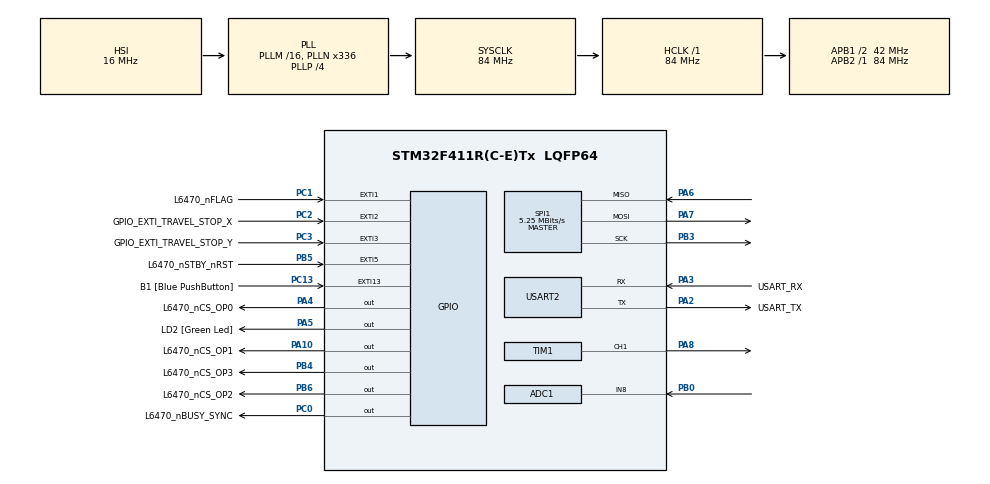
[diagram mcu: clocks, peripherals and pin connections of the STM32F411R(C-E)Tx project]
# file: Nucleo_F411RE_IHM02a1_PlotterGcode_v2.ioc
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Mcu.Family=STM32F4
PA6.Mode=Full_Duplex_Master
RCC.CortexFreq_Value=84000000
SPI1.VirtualType=VM_MASTER
PA14.GPIO_Label=TCK
NVIC.EXTI3_IRQn=true\:0\:0\:false\:false\:true\:true\:true
PC0.GPIO_Label=L6470_nBUSY_SYNC
PC0.GPIO_ModeDefaultOutputPP=GPIO_MODE_OUTPUT_OD
PB6.GPIO_Label=L6470_nCS_OP2
PB3.GPIO_Speed=GPIO_SPEED_FREQ_HIGH
RCC.SYSCLKSource=RCC_SYSCLKSOURCE_PLLCLK
ProjectManager.StackSize=0x400
TIM1.Prescaler=839
SPI1.CLKPolarity=SPI_POLARITY_HIGH
PH0\ -\ OSC_IN.Signal=RCC_OSC_IN
SPI1.Direction=SPI_DIRECTION_2LINES
RCC.HCLKFreq_Value=84000000
RCC.APB2TimFreq_Value=84000000
PB6.Signal=GPIO_Output
ADC1.InjNumberOfConversion=0
SPI1.CalculateBaudRate=5.25 MBits/s
PC3.Signal=GPXTI3
RCC.AHBFreq_Value=84000000
NVIC.EXTI15_10_IRQn=true\:0\:0\:false\:false\:true\:true\:true
ADC1.Channel-0\#ChannelRegularConversion=ADC_CHANNEL_8
RCC.HSE_VALUE=8000000
PB3.Mode=Full_Duplex_Master
PC1.GPIO_PuPd=GPIO_NOPULL
PC13-ANTI_TAMP.Signal=GPXTI13
PC14-OSC32_IN.Mode=LSE-External-Oscillator
TIM1.Channel-PWM\ Generation1\ CH1=TIM_CHANNEL_1
PA14.Mode=Serial_Wire
NVIC.TIM2_IRQn=true\:0\:0\:false\:false\:true\:true\:true
PA10.GPIO_Label=L6470_nCS_OP1
SH.ADCx_IN8.0=ADC1_IN8,IN8
PA8.Signal=S_TIM1_CH1
VP_TIM1_VS_ClockSourceINT.Mode=Internal
ADC1.SamplingTime-0\#ChannelRegularConversion=ADC_SAMPLETIME_3CYCLES
RCC.FLatency-AdvancedSettings=FLASH_LATENCY_2
Mcu.Package=LQFP64
TIM2.Prescaler=8399
PA6.Signal=SPI1_MISO
USART2.VirtualMode=VM_ASYNC
PA2.GPIO_Label=USART_TX
PA10.Signal=GPIO_Output
PA10.GPIO_Speed=GPIO_SPEED_FREQ_HIGH
TIM2.TIM_MasterOutputTrigger=TIM_TRGO_UPDATE
PB5.GPIO_Label=L6470_nSTBY_nRST
NVIC.EXTI2_IRQn=true\:0\:0\:false\:false\:true\:true\:true
RCC.APB1TimFreq_Value=84000000
TIM1.Period=1999
PA6.GPIO_Speed=GPIO_SPEED_FREQ_HIGH
SPI1.BaudRatePrescaler=SPI_BAUDRATEPRESCALER_16
PA4.GPIO_Label=L6470_nCS_OP0
PC2.GPIO_Label=GPIO_EXTI_TRAVEL_STOP_X
PB4.Signal=GPIO_Output
PC2.GPIO_ModeDefaultEXTI=GPIO_MODE_IT_FALLING
PA3.Signal=USART2_RX
PB5.GPIO_ModeDefaultEXTI=GPIO_MODE_IT_FALLING
PC15-OSC32_OUT.Mode=LSE-External-Oscillator
ADC1.Rank-0\#ChannelRegularConversion=1
PA7.Mode=Full_Duplex_Master
PC13-ANTI_TAMP.GPIO_Label=B1 [Blue PushButton]
PC3.GPIO_ModeDefaultEXTI=GPIO_MODE_IT_FALLING
PH1\ -\ OSC_OUT.Mode=HSE-External-Clock-Source
PC2.Signal=GPXTI2
SPI1.CLKPhase=SPI_PHASE_2EDGE
PC0.Signal=GPIO_Output
RCC.APB1CLKDivider=RCC_HCLK_DIV2
PC14-OSC32_IN.Signal=RCC_OSC32_IN
PA3.Mode=Asynchronous
PA13.Signal=SYS_JTMS-SWDIO
TIM1.AutoReloadPreload=TIM_AUTORELOAD_PRELOAD_ENABLE
PH0\ -\ OSC_IN.Mode=HSE-External-Clock-Source
PC0.GPIO_Speed=GPIO_SPEED_FREQ_HIGH
SH.S_TIM1_CH1.0=TIM1_CH1,PWM Generation1 CH1
ProjectManager.TargetToolchain=STM32CubeIDE
PC15-OSC32_OUT.Signal=RCC_OSC32_OUT
PA5.Signal=GPIO_Output
PH1\ -\ OSC_OUT.Signal=RCC_OSC_OUT
board=NUCLEO-F411RE
RCC.VCOOutputFreq_Value=336000000
PA7.GPIO_Speed=GPIO_SPEED_FREQ_HIGH
RCC.APB2Freq_Value=84000000
PB4.GPIO_Label=L6470_nCS_OP3
VP_TIM2_VS_ClockSourceINT.Mode=Internal
SPI1.Mode=SPI_MODE_MASTER
PC1.GPIO_Label=L6470_nFLAG
PC2.GPIO_PuPd=GPIO_PULLUP
PA13.Mode=Serial_Wire
Mcu.Name=STM32F411R(C-E)Tx
PA2.Signal=USART2_TX
PA13.GPIO_Label=TMS
RCC.LockedElements=TimPrescOut,PeriphPrescOutput
RCC.48MHZClocksFreq_Value=84000000
PB3.Signal=SPI1_SCK
PA4.Signal=GPIO_Output
RCC.SYSCLKFreq_VALUE=84000000
PB5.Signal=GPXTI5
ADC1.master=1
PA5.GPIO_Label=LD2 [Green Led]
PC13-ANTI_TAMP.GPIO_ModeDefaultEXTI=GPIO_MODE_IT_FALLING
PA14.Signal=SYS_JTCK-SWCLK
ProjectManager.HeapSize=0x200
RCC.HSI_VALUE=16000000
RCC.PLLP=RCC_PLLP_DIV4
NVIC.PriorityGroup=NVIC_PRIORITYGROUP_0
ADC1.NbrOfConversionFlag=1
RCC.PLLN=336
PC1.GPIO_ModeDefaultEXTI=GPIO_MODE_IT_FALLING
PA2.Mode=Asynchronous
PC3.GPIO_Label=GPIO_EXTI_TRAVEL_STOP_Y
RCC.APB1Freq_Value=42000000
PB0.Signal=ADCx_IN8
PC1.Signal=GPXTI1
PC3.GPIO_PuPd=GPIO_PULLUP
PA3.GPIO_Label=USART_RX
PA7.Signal=SPI1_MOSI

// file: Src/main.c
/* USER CODE BEGIN Header */
/**
 ******************************************************************************
 * @file           : main.c
 * @brief          : Main program body
 ******************************************************************************
 * @attention
 *
 * <h2><center>&copy; Copyright (c) 2020 STMicroelectronics.
 * All rights reserved.</center></h2>
 *
 * This software component is licensed by ST under BSD 3-Clause license,
 * the "License"; You may not use this file except in compliance with the
 * License. You may obtain a copy of the License at:
 *                        opensource.org/licenses/BSD-3-Clause
 *
 ******************************************************************************
 */
/* USER CODE END Header */

#include "main.h"

/* USER CODE BEGIN Includes */

#include "xnucleoihm02a1.h"

/* USER CODE END Includes */

/* USER CODE BEGIN PTD */

void BSP_ServoMotorInit(void);
void BSP_ServoMotorOn(void);
void BSP_ServoMotorOff(void);
void BSP_ServoMotorSetAngle(uint8_t angle);

/* USER CODE END PTD */

ADC_HandleTypeDef hadc1;

SPI_HandleTypeDef hspi1;

TIM_HandleTypeDef htim1;
TIM_HandleTypeDef htim2;

UART_HandleTypeDef huart2;

/* USER CODE BEGIN PV */
uint8_t TIM2_AWAITING_UPDATE_EVENT;
/* USER CODE END PV */

void SystemClock_Config(void);
static void MX_GPIO_Init(void);
static void MX_ADC1_Init(void);
static void MX_SPI1_Init(void);
static void MX_USART2_UART_Init(void);
static void MX_TIM2_Init(void);
static void MX_TIM1_Init(void);

/* USER CODE BEGIN 0 */

#ifdef __GNUC__
/* With GCC, small printf (option LD Linker->Libraries->Small printf
     set to 'Yes') calls __io_putchar() */
#define PUTCHAR_PROTOTYPE int __io_putchar(int ch)
#else
#define PUTCHAR_PROTOTYPE int fputc(int ch, FILE *f)
#endif /* __GNUC__ */

/* Private functions ---------------------------------------------------------*/
/**
 * @brief  Retargets the C library printf function to the USART.
 * @param  None
 * @retval None
 */
PUTCHAR_PROTOTYPE
{
	/* Place your implementation of fputc here */
	/* e.g. write a character to the EVAL_COM1 and Loop until the end of transmission */
	HAL_UART_Transmit(&huart2, (uint8_t *)&ch, 1, 0xFFFF);

	return ch;
}

/* USER CODE END 0 */

int main(void)
{

  /* MCU Configuration--------------------------------------------------------*/

  /* Reset of all peripherals, Initializes the Flash interface and the Systick. */
  HAL_Init();

  /* Configure the system clock */
  SystemClock_Config();

  /* Initialize all configured peripherals */
  MX_GPIO_Init();
  MX_ADC1_Init();
  MX_SPI1_Init();
  MX_USART2_UART_Init();
  MX_TIM2_Init();
  MX_TIM1_Init();
  /* USER CODE BEGIN 2 */

#ifdef NUCLEO_USE_USER_BUTTON0
	/* Configures Button GPIO and EXTI Line */
	BSP_PB_Init(BUTTON_KEY, BUTTON_MODE_EXTI);
#endif

#ifdef NUCLEO_USE_USER_LED
	/* Configures LED GPIO */
	BSP_LED_Init(LED2);
#endif

	printf("Start\n");

	BSP_ServoMotorInit();

//	BSP_ServoMotorOn();
//	BSP_ServoMotorSetAngle(20);
//	HAL_Delay(2000);
//	BSP_ServoMotorOff();
//
//	BSP_ServoMotorOn();
//	BSP_ServoMotorSetAngle(0);
//	HAL_Delay(2000);
//	BSP_ServoMotorOff();

	/* Perform a batch commands for X-NUCLEO-IHM02A1 */
	plotterProcess();

  /* USER CODE END 2 */

  /* Infinite loop */
	while (1)
	{

	}
}

void SystemClock_Config(void)
{
  RCC_OscInitTypeDef RCC_OscInitStruct = {0};
  RCC_ClkInitTypeDef RCC_ClkInitStruct = {0};

  /** Configure the main internal regulator output voltage
  */
  __HAL_RCC_PWR_CLK_ENABLE();
  __HAL_PWR_VOLTAGESCALING_CONFIG(PWR_REGULATOR_VOLTAGE_SCALE1);
  /** Initializes the CPU, AHB and APB busses clocks
  */
  RCC_OscInitStruct.OscillatorType = RCC_OSCILLATORTYPE_HSI;
  RCC_OscInitStruct.HSIState = RCC_HSI_ON;
  RCC_OscInitStruct.HSICalibrationValue = RCC_HSICALIBRATION_DEFAULT;
  RCC_OscInitStruct.PLL.PLLState = RCC_PLL_ON;
  RCC_OscInitStruct.PLL.PLLSource = RCC_PLLSOURCE_HSI;
  RCC_OscInitStruct.PLL.PLLM = 16;
  RCC_OscInitStruct.PLL.PLLN = 336;
  RCC_OscInitStruct.PLL.PLLP = RCC_PLLP_DIV4;
  RCC_OscInitStruct.PLL.PLLQ = 4;
  if (HAL_RCC_OscConfig(&RCC_OscInitStruct) != HAL_OK)
  {
    Error_Handler();
  }
  /** Initializes the CPU, AHB and APB busses clocks
  */
  RCC_ClkInitStruct.ClockType = RCC_CLOCKTYPE_HCLK|RCC_CLOCKTYPE_SYSCLK
                              |RCC_CLOCKTYPE_PCLK1|RCC_CLOCKTYPE_PCLK2;
  RCC_ClkInitStruct.SYSCLKSource = RCC_SYSCLKSOURCE_PLLCLK;
  RCC_ClkInitStruct.AHBCLKDivider = RCC_SYSCLK_DIV1;
  RCC_ClkInitStruct.APB1CLKDivider = RCC_HCLK_DIV2;
  RCC_ClkInitStruct.APB2CLKDivider = RCC_HCLK_DIV1;

  if (HAL_RCC_ClockConfig(&RCC_ClkInitStruct, FLASH_LATENCY_2) != HAL_OK)
  {
    Error_Handler();
  }
}

static void MX_ADC1_Init(void)
{

  ADC_ChannelConfTypeDef sConfig = {0};

  /** Configure the global features of the ADC (Clock, Resolution, Data Alignment and number of conversion)
  */
  hadc1.Instance = ADC1;
  hadc1.Init.ClockPrescaler = ADC_CLOCK_SYNC_PCLK_DIV4;
  hadc1.Init.Resolution = ADC_RESOLUTION_12B;
  hadc1.Init.ScanConvMode = DISABLE;
  hadc1.Init.ContinuousConvMode = DISABLE;
  hadc1.Init.DiscontinuousConvMode = DISABLE;
  hadc1.Init.ExternalTrigConvEdge = ADC_EXTERNALTRIGCONVEDGE_NONE;
  hadc1.Init.ExternalTrigConv = ADC_SOFTWARE_START;
  hadc1.Init.DataAlign = ADC_DATAALIGN_RIGHT;
  hadc1.Init.NbrOfConversion = 1;
  hadc1.Init.DMAContinuousRequests = DISABLE;
  hadc1.Init.EOCSelection = ADC_EOC_SINGLE_CONV;
  if (HAL_ADC_Init(&hadc1) != HAL_OK)
  {
    Error_Handler();
  }
  /** Configure for the selected ADC regular channel its corresponding rank in the sequencer and its sample time.
  */
  sConfig.Channel = ADC_CHANNEL_8;
  sConfig.Rank = 1;
  sConfig.SamplingTime = ADC_SAMPLETIME_3CYCLES;
  if (HAL_ADC_ConfigChannel(&hadc1, &sConfig) != HAL_OK)
  {
    Error_Handler();
  }

}

static void MX_SPI1_Init(void)
{

  /* USER CODE BEGIN SPI1_Init 0 */
#define MAX_BAUDRATE  5000000
	uint32_t freq;
	uint16_t freq_div;
	uint32_t spi_baudrateprescaler;
  /* USER CODE END SPI1_Init 0 */

  /* SPI1 parameter configuration*/
  hspi1.Instance = SPI1;
  hspi1.Init.Mode = SPI_MODE_MASTER;
  hspi1.Init.Direction = SPI_DIRECTION_2LINES;
  hspi1.Init.DataSize = SPI_DATASIZE_8BIT;
  hspi1.Init.CLKPolarity = SPI_POLARITY_HIGH;
  hspi1.Init.CLKPhase = SPI_PHASE_2EDGE;
  hspi1.Init.NSS = SPI_NSS_SOFT;
  hspi1.Init.BaudRatePrescaler = SPI_BAUDRATEPRESCALER_16;
  hspi1.Init.FirstBit = SPI_FIRSTBIT_MSB;
  hspi1.Init.TIMode = SPI_TIMODE_DISABLE;
  hspi1.Init.CRCCalculation = SPI_CRCCALCULATION_DISABLE;
  hspi1.Init.CRCPolynomial = 10;
  if (HAL_SPI_Init(&hspi1) != HAL_OK)
  {
    Error_Handler();
  }
  /* USER CODE BEGIN SPI1_Init 2 */
	freq = HAL_RCC_GetPCLK2Freq();
	freq_div = (freq / MAX_BAUDRATE);

	if (freq_div < 2)
	{
		spi_baudrateprescaler = SPI_BAUDRATEPRESCALER_2;
	}
	else
	{
		if (freq_div < 4)
		{
			spi_baudrateprescaler = SPI_BAUDRATEPRESCALER_4;
		}
		else
		{
			if (freq_div < 8)
			{
				spi_baudrateprescaler = SPI_BAUDRATEPRESCALER_8;
			}
			else
			{
				if (freq_div < 16)
				{
					spi_baudrateprescaler = SPI_BAUDRATEPRESCALER_16;
				}
				else
				{
					if (freq_div < 32)
					{
						spi_baudrateprescaler = SPI_BAUDRATEPRESCALER_32;
					}
					else
					{
						if (freq_div < 64)
						{
							spi_baudrateprescaler = SPI_BAUDRATEPRESCALER_64;
						}
						else
						{
							if (freq_div < 128)
							{
								spi_baudrateprescaler = SPI_BAUDRATEPRESCALER_128;
							}
							else
							{
								if (freq_div < 256)
								{
									spi_baudrateprescaler = SPI_BAUDRATEPRESCALER_256;
								}
								else
								{
									/* the condition is not possible, you should reduce the CPU frequency */
									while(1);
								}
							}
						}
					}
				}
			}
		}
	}

	hspi1.Init.BaudRatePrescaler = spi_baudrateprescaler;  // the baudrate will be lower than MAX_BAUDRATE (5 MBits/s)
	if (HAL_SPI_Init(&hspi1) != HAL_OK)
	{
		Error_Handler();
	}
  /* USER CODE END SPI1_Init 2 */

}

static void MX_TIM1_Init(void)
{

  TIM_ClockConfigTypeDef sClockSourceConfig = {0};
  TIM_MasterConfigTypeDef sMasterConfig = {0};
  TIM_OC_InitTypeDef sConfigOC = {0};
  TIM_BreakDeadTimeConfigTypeDef sBreakDeadTimeConfig = {0};

  htim1.Instance = TIM1;
  htim1.Init.Prescaler = 839;
  htim1.Init.CounterMode = TIM_COUNTERMODE_UP;
  htim1.Init.Period = 1999;
  htim1.Init.ClockDivision = TIM_CLOCKDIVISION_DIV1;
  htim1.Init.RepetitionCounter = 0;
  htim1.Init.AutoReloadPreload = TIM_AUTORELOAD_PRELOAD_ENABLE;
  if (HAL_TIM_Base_Init(&htim1) != HAL_OK)
  {
    Error_Handler();
  }
  sClockSourceConfig.ClockSource = TIM_CLOCKSOURCE_INTERNAL;
  if (HAL_TIM_ConfigClockSource(&htim1, &sClockSourceConfig) != HAL_OK)
  {
    Error_Handler();
  }
  if (HAL_TIM_PWM_Init(&htim1) != HAL_OK)
  {
    Error_Handler();
  }
  sMasterConfig.MasterOutputTrigger = TIM_TRGO_RESET;
  sMasterConfig.MasterSlaveMode = TIM_MASTERSLAVEMODE_DISABLE;
  if (HAL_TIMEx_MasterConfigSynchronization(&htim1, &sMasterConfig) != HAL_OK)
  {
    Error_Handler();
  }
  sConfigOC.OCMode = TIM_OCMODE_PWM1;
  sConfigOC.Pulse = 0;
  sConfigOC.OCPolarity = TIM_OCPOLARITY_HIGH;
  sConfigOC.OCNPolarity = TIM_OCNPOLARITY_HIGH;
  sConfigOC.OCFastMode = TIM_OCFAST_DISABLE;
  sConfigOC.OCIdleState = TIM_OCIDLESTATE_RESET;
  sConfigOC.OCNIdleState = TIM_OCNIDLESTATE_RESET;
  if (HAL_TIM_PWM_ConfigChannel(&htim1, &sConfigOC, TIM_CHANNEL_1) != HAL_OK)
  {
    Error_Handler();
  }
  sBreakDeadTimeConfig.OffStateRunMode = TIM_OSSR_DISABLE;
  sBreakDeadTimeConfig.OffStateIDLEMode = TIM_OSSI_DISABLE;
  sBreakDeadTimeConfig.LockLevel = TIM_LOCKLEVEL_OFF;
  sBreakDeadTimeConfig.DeadTime = 0;
  sBreakDeadTimeConfig.BreakState = TIM_BREAK_DISABLE;
  sBreakDeadTimeConfig.BreakPolarity = TIM_BREAKPOLARITY_HIGH;
  sBreakDeadTimeConfig.AutomaticOutput = TIM_AUTOMATICOUTPUT_DISABLE;
  if (HAL_TIMEx_ConfigBreakDeadTime(&htim1, &sBreakDeadTimeConfig) != HAL_OK)
  {
    Error_Handler();
  }
  HAL_TIM_MspPostInit(&htim1);

}

static void MX_TIM2_Init(void)
{

  TIM_ClockConfigTypeDef sClockSourceConfig = {0};
  TIM_MasterConfigTypeDef sMasterConfig = {0};

  htim2.Instance = TIM2;
  htim2.Init.Prescaler = 8399;
  htim2.Init.CounterMode = TIM_COUNTERMODE_UP;
  htim2.Init.Period = 0;
  htim2.Init.ClockDivision = TIM_CLOCKDIVISION_DIV1;
  htim2.Init.AutoReloadPreload = TIM_AUTORELOAD_PRELOAD_DISABLE;
  if (HAL_TIM_Base_Init(&htim2) != HAL_OK)
  {
    Error_Handler();
  }
  sClockSourceConfig.ClockSource = TIM_CLOCKSOURCE_INTERNAL;
  if (HAL_TIM_ConfigClockSource(&htim2, &sClockSourceConfig) != HAL_OK)
  {
    Error_Handler();
  }
  sMasterConfig.MasterOutputTrigger = TIM_TRGO_UPDATE;
  sMasterConfig.MasterSlaveMode = TIM_MASTERSLAVEMODE_DISABLE;
  if (HAL_TIMEx_MasterConfigSynchronization(&htim2, &sMasterConfig) != HAL_OK)
  {
    Error_Handler();
  }

}

static void MX_USART2_UART_Init(void)
{

  huart2.Instance = USART2;
  huart2.Init.BaudRate = 115200;
  huart2.Init.WordLength = UART_WORDLENGTH_8B;
  huart2.Init.StopBits = UART_STOPBITS_1;
  huart2.Init.Parity = UART_PARITY_NONE;
  huart2.Init.Mode = UART_MODE_TX_RX;
  huart2.Init.HwFlowCtl = UART_HWCONTROL_NONE;
  huart2.Init.OverSampling = UART_OVERSAMPLING_16;
  if (HAL_UART_Init(&huart2) != HAL_OK)
  {
    Error_Handler();
  }

}

static void MX_GPIO_Init(void)
{
  GPIO_InitTypeDef GPIO_InitStruct = {0};

  /* GPIO Ports Clock Enable */
  __HAL_RCC_GPIOC_CLK_ENABLE();
  __HAL_RCC_GPIOH_CLK_ENABLE();
  __HAL_RCC_GPIOA_CLK_ENABLE();
  __HAL_RCC_GPIOB_CLK_ENABLE();

  /*Configure GPIO pin Output Level */
  HAL_GPIO_WritePin(L6470_nBUSY_SYNC_GPIO_Port, L6470_nBUSY_SYNC_Pin, GPIO_PIN_RESET);

  /*Configure GPIO pin Output Level */
  HAL_GPIO_WritePin(GPIOA, L6470_nCS_OP0_Pin|LD2_Pin|L6470_nCS_OP1_Pin, GPIO_PIN_RESET);

  /*Configure GPIO pin Output Level */
  HAL_GPIO_WritePin(GPIOB, L6470_nCS_OP3_Pin|L6470_nCS_OP2_Pin, GPIO_PIN_RESET);

  /*Configure GPIO pins : B1_Pin L6470_nFLAG_Pin */
  GPIO_InitStruct.Pin = B1_Pin|L6470_nFLAG_Pin;
  GPIO_InitStruct.Mode = GPIO_MODE_IT_FALLING;
  GPIO_InitStruct.Pull = GPIO_NOPULL;
  HAL_GPIO_Init(GPIOC, &GPIO_InitStruct);

  /*Configure GPIO pin : L6470_nBUSY_SYNC_Pin */
  GPIO_InitStruct.Pin = L6470_nBUSY_SYNC_Pin;
  GPIO_InitStruct.Mode = GPIO_MODE_OUTPUT_OD;
  GPIO_InitStruct.Pull = GPIO_NOPULL;
  GPIO_InitStruct.Speed = GPIO_SPEED_FREQ_HIGH;
  HAL_GPIO_Init(L6470_nBUSY_SYNC_GPIO_Port, &GPIO_InitStruct);

  /*Configure GPIO pins : GPIO_EXTI_TRAVEL_STOP_X_Pin GPIO_EXTI_TRAVEL_STOP_Y_Pin */
  GPIO_InitStruct.Pin = GPIO_EXTI_TRAVEL_STOP_X_Pin|GPIO_EXTI_TRAVEL_STOP_Y_Pin;
  GPIO_InitStruct.Mode = GPIO_MODE_IT_FALLING;
  GPIO_InitStruct.Pull = GPIO_PULLUP;
  HAL_GPIO_Init(GPIOC, &GPIO_InitStruct);

  /*Configure GPIO pins : L6470_nCS_OP0_Pin LD2_Pin */
  GPIO_InitStruct.Pin = L6470_nCS_OP0_Pin|LD2_Pin;
  GPIO_InitStruct.Mode = GPIO_MODE_OUTPUT_PP;
  GPIO_InitStruct.Pull = GPIO_NOPULL;
  GPIO_InitStruct.Speed = GPIO_SPEED_FREQ_LOW;
  HAL_GPIO_Init(GPIOA, &GPIO_InitStruct);

  /*Configure GPIO pin : L6470_nCS_OP1_Pin */
  GPIO_InitStruct.Pin = L6470_nCS_OP1_Pin;
  GPIO_InitStruct.Mode = GPIO_MODE_OUTPUT_PP;
  GPIO_InitStruct.Pull = GPIO_NOPULL;
  GPIO_InitStruct.Speed = GPIO_SPEED_FREQ_HIGH;
  HAL_GPIO_Init(L6470_nCS_OP1_GPIO_Port, &GPIO_InitStruct);

  /*Configure GPIO pins : L6470_nCS_OP3_Pin L6470_nCS_OP2_Pin */
  GPIO_InitStruct.Pin = L6470_nCS_OP3_Pin|L6470_nCS_OP2_Pin;
  GPIO_InitStruct.Mode = GPIO_MODE_OUTPUT_PP;
  GPIO_InitStruct.Pull = GPIO_NOPULL;
  GPIO_InitStruct.Speed = GPIO_SPEED_FREQ_LOW;
  HAL_GPIO_Init(GPIOB, &GPIO_InitStruct);

  /*Configure GPIO pin : L6470_nSTBY_nRST_Pin */
  GPIO_InitStruct.Pin = L6470_nSTBY_nRST_Pin;
  GPIO_InitStruct.Mode = GPIO_MODE_IT_FALLING;
  GPIO_InitStruct.Pull = GPIO_NOPULL;
  HAL_GPIO_Init(L6470_nSTBY_nRST_GPIO_Port, &GPIO_InitStruct);

  /* EXTI interrupt init*/
  HAL_NVIC_SetPriority(EXTI2_IRQn, 0, 0);
  HAL_NVIC_EnableIRQ(EXTI2_IRQn);

  HAL_NVIC_SetPriority(EXTI3_IRQn, 0, 0);
  HAL_NVIC_EnableIRQ(EXTI3_IRQn);

  HAL_NVIC_SetPriority(EXTI15_10_IRQn, 0, 0);
  HAL_NVIC_EnableIRQ(EXTI15_10_IRQn);

}

/* USER CODE BEGIN 4 */

/**
 * @brief TIM1 Initialization Function. Prescaler is set to 839
 * @param None
 * @retval None
 *
 * PA8     ------> TIM1_CH1 = PWM CH1
 * PSC=839    PCLK2TIM_FREQ=84 MHz
 * FREQ = 84MHz/(PSC+1)= 100 000 Hz
 * Ts = 1 ms
 * CNT = FREQ * Ts -1 = 100 -1 = 99
 */
void BSP_ServoMotorInit(void)
{

	/* CHECK PLK2Freq */
	uint32_t freq = HAL_RCC_GetPCLK2Freq();
    if (freq != 84000000){
    	Error_Handler();
    }
	/* USER CODE END TIM1_Init 0 */

	TIM_ClockConfigTypeDef sClockSourceConfig = {0};
	TIM_MasterConfigTypeDef sMasterConfig = {0};
	TIM_OC_InitTypeDef sConfigOC = {0};
	TIM_BreakDeadTimeConfigTypeDef sBreakDeadTimeConfig = {0};

	/* USER CODE BEGIN TIM1_Init 1 */

	/* USER CODE END TIM1_Init 1 */
	htim1.Instance = TIM1;
	htim1.Init.Prescaler = 839;
	htim1.Init.CounterMode = TIM_COUNTERMODE_UP;
	htim1.Init.Period = 1999;
	htim1.Init.ClockDivision = TIM_CLOCKDIVISION_DIV1;
	htim1.Init.RepetitionCounter = 0;
	htim1.Init.AutoReloadPreload = TIM_AUTORELOAD_PRELOAD_DISABLE;
	if (HAL_TIM_Base_Init(&htim1) != HAL_OK)
	{
		Error_Handler();
	}
	sClockSourceConfig.ClockSource = TIM_CLOCKSOURCE_INTERNAL;
	if (HAL_TIM_ConfigClockSource(&htim1, &sClockSourceConfig) != HAL_OK)
	{
		Error_Handler();
	}
	if (HAL_TIM_PWM_Init(&htim1) != HAL_OK)
	{
		Error_Handler();
	}
	sMasterConfig.MasterOutputTrigger = TIM_TRGO_RESET;
	sMasterConfig.MasterSlaveMode = TIM_MASTERSLAVEMODE_DISABLE;
	if (HAL_TIMEx_MasterConfigSynchronization(&htim1, &sMasterConfig) != HAL_OK)
	{
		Error_Handler();
	}
	sConfigOC.OCMode = TIM_OCMODE_PWM1;
	sConfigOC.Pulse = 0;
	sConfigOC.OCPolarity = TIM_OCPOLARITY_HIGH;
	sConfigOC.OCNPolarity = TIM_OCNPOLARITY_HIGH;
	sConfigOC.OCFastMode = TIM_OCFAST_DISABLE;
	sConfigOC.OCIdleState = TIM_OCIDLESTATE_RESET;
	sConfigOC.OCNIdleState = TIM_OCNIDLESTATE_RESET;
	if (HAL_TIM_PWM_ConfigChannel(&htim1, &sConfigOC, TIM_CHANNEL_1) != HAL_OK)
	{
		Error_Handler();
	}
	sBreakDeadTimeConfig.OffStateRunMode = TIM_OSSR_DISABLE;
	sBreakDeadTimeConfig.OffStateIDLEMode = TIM_OSSI_DISABLE;
	sBreakDeadTimeConfig.LockLevel = TIM_LOCKLEVEL_OFF;
	sBreakDeadTimeConfig.DeadTime = 0;
	sBreakDeadTimeConfig.BreakState = TIM_BREAK_DISABLE;
	sBreakDeadTimeConfig.BreakPolarity = TIM_BREAKPOLARITY_HIGH;
	sBreakDeadTimeConfig.AutomaticOutput = TIM_AUTOMATICOUTPUT_DISABLE;
	if (HAL_TIMEx_ConfigBreakDeadTime(&htim1, &sBreakDeadTimeConfig) != HAL_OK)
	{
		Error_Handler();
	}

	GPIO_InitTypeDef GPIO_InitStruct = {0};
	if(htim1.Instance==TIM1)
	{
		__HAL_RCC_GPIOA_CLK_ENABLE();
		/**TIM1 GPIO Configuration
	    PA8     ------> TIM1_CH1
		 */
		GPIO_InitStruct.Pin = GPIO_PIN_8;
		GPIO_InitStruct.Mode = GPIO_MODE_AF_PP;
		GPIO_InitStruct.Pull = GPIO_NOPULL;
		GPIO_InitStruct.Speed = GPIO_SPEED_FREQ_LOW;
		GPIO_InitStruct.Alternate = GPIO_AF1_TIM1;
		HAL_GPIO_Init(GPIOA, &GPIO_InitStruct);
	}

}

void BSP_ServoMotorOn(void){
	/*
	 * Setting the URS bit inside the TIMx->CR1 register: this will cause
that the UEV event is generated only when the counter reaches the overflow.
It is possible to configure the timer so that the ARR register is buffered,
by setting the TIM_CR1_ARPE bit in the TIMx->CR1 control register.
This will cause that the content of the shadow register is updated automatically
	 */
	if (htim1.State == HAL_TIM_STATE_BUSY)
	   HAL_TIM_PWM_Stop(&htim1, TIM_CHANNEL_1);

	TIM1->CR1 |= TIM_CR1_ARPE; //Enable preloading

	/* Enable the output compare 1 Preload */
	TIM1->CCMR1 |= TIM_CCMR1_OC1PE;
	HAL_TIM_PWM_Start(&htim1, TIM_CHANNEL_1);
}

void BSP_ServoMotorOff(void){
	HAL_TIM_PWM_Stop(&htim1, TIM_CHANNEL_1);
}

void BSP_ServoMotorSetAngle(uint8_t angle){
	if (angle>90) angle=90;
	uint8_t PulseWidth = (uint8_t) (99.0f+angle*10.0f/9.0f); // in [99, 199]
	TIM1->CCR1 = PulseWidth;
}

//void HAL_TIM_PeriodElapsedCallback(TIM_HandleTypeDef *htim)
//{
//	if (htim->Instance==TIM2){
//		TIM2_AWAITING_UPDATE_EVENT=0;
//	}
//}

/**
 * @brief  Blinking user LED at 50% duty cycle.
 * @param  repetitions The number of  repetions.
 * @param  period_ms   The blinking period in ms.
 */
void User_LED_Blinking(uint8_t repetitions, uint16_t period_ms)
{
	uint8_t r;
	uint16_t half_period_ms;

	half_period_ms = period_ms >> 1;

	for (r=0; r<repetitions; r++)
	{
		/* Switch on the user LED */
		BSP_LED_On(LED2);
		/* ms delay */
		HAL_Delay(half_period_ms);
		/* Switch off the user LED */
		BSP_LED_Off(LED2);
		/* ms delay */
		HAL_Delay(half_period_ms);
	}
}

/* USER CODE END 4 */

void Error_Handler(void)
{
  /* USER CODE BEGIN Error_Handler_Debug */
	/* User can add his own implementation to report the HAL error return state */
	printf("Error\n");
    while(1) { ; }
  /* USER CODE END Error_Handler_Debug */
}

/************************ (C) COPYRIGHT STMicroelectronics *****END OF FILE****/
